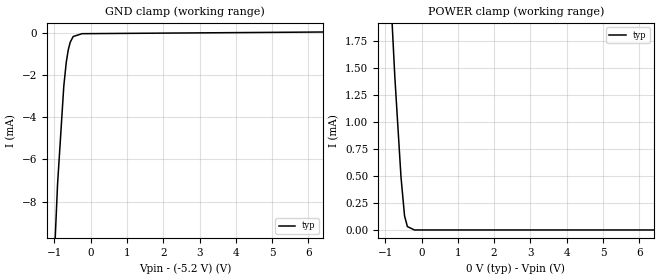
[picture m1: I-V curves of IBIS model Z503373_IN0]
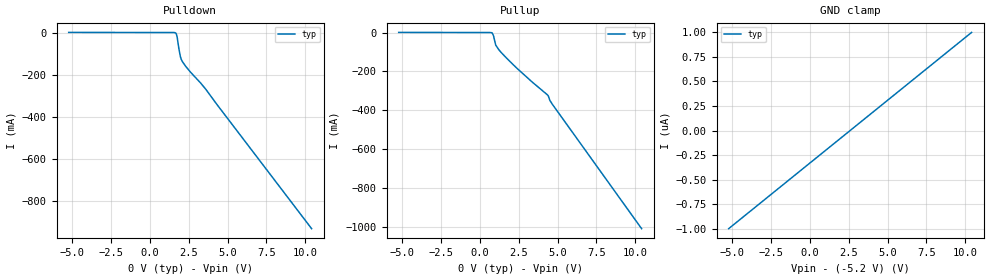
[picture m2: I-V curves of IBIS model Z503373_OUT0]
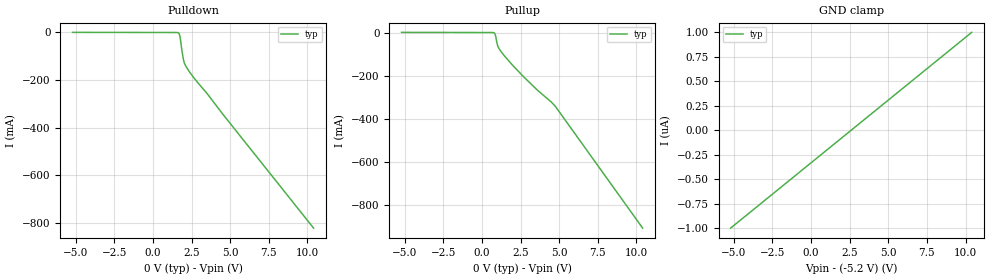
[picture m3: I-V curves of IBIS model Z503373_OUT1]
| YOU ARE ONLY AUTHORIZED TO USE THIS SOFTWARE
| ACCORDING TO LICENSOR'S LICENSE RESTRICTIONS.
[IBIS Ver] 3.1
[File Name] mc100e416fn.ibs
[File Rev] 2.0
[Source] Measured and created by ICX Technology
[Date] Friday 7/14/00 9:07:47 AM
[Copyright]
| (C) COPYRIGHT 1993-2000
| MENTOR GRAPHICS CORPORATION
| ICX STANDARD LIBRARY, ICX PROJECT MODELING,
| ICX CUSTOM MODELING, ICX VENDOR MODEL
| ALL RIGHTS RESERVED.
| THE FOLLOWING ARE TRADEMARKS OR SERVICE MARKS OF
| MENTOR GRAPHICS CORPORATION:ICX (R), ICX STANDARD
| LIBRARY(R), ICX PROJECT MODELING(R), ICX CUSTOM
| MODELING(R), qualityIBIS(TM), MODELVIEWER(TM),
| AND MODELEDITOR(TM)
| ALL COPIES OF SOFTWARE, INCLUDING BUT NOT LIMITED TO
| ANY MODIFICATIONS, ENHANCEMENTS OR DERIVATIVE WORKS,
| MUST CONTAIN ALL MENTOR GRAPHICS CORPORATION'S
| NOTICES AND LEGENDS, INCLUDING THOSE EMBEDDED IN
| SOFTWARE AND THOSE AFFIXED TO SOFTWARE MEDIUM
| AND CONTAINER, AS RECEIVED FROM MENTOR GRAPHICS
| CORPORATION.
|  ZAP Model Builder 2.7
[Component] MC100E416FN
[Manufacturer] OnSemiconductor
[Package]
| variable   typ   min   max
R_pkg  .083ohms NA NA
L_pkg  4.299nH NA NA
C_pkg  1.045pF NA NA
[Pin] signal_name  model_name  R_pin  L_pin C_pin
1 VEE POWER .08 3.94n .925p
2 VBB POWER .082 4.14n .995p
3 D0 Z503373_IN0 .084 4.354n 1.065p
4 _D0 Z503373_IN0 .086 4.583n 1.135p
5 D1 Z503373_IN0 .086 4.583n 1.135p
6 _D1 Z503373_IN0 .084 4.354n 1.065p
7 VCCO POWER .082 4.14n .995p
8 Q0 Z503373_OUT0 .08 3.94n .925p
9 _Q0 Z503373_OUT1 .082 4.14n .995p
10 VCCO POWER .084 4.354n 1.065p
11 Q1 Z503373_OUT0 .086 4.583n 1.135p
12 _Q1 Z503373_OUT1 .086 4.583n 1.135p
13 VCCO POWER .084 4.354n 1.065p
14 Q2 Z503373_OUT0 .082 4.14n .995p
15 _Q2 Z503373_OUT1 .08 3.94n .925p
16 VCC POWER .082 4.14n .995p
17 Q3 Z503373_OUT0 .084 4.354n 1.065p
18 _Q3 Z503373_OUT1 .086 4.583n 1.135p
19 VCCO POWER .086 4.583n 1.135p
20 Q4 Z503373_IN0 .084 4.354n 1.065p
21 _Q4 Z503373_IN0 .082 4.14n .995p
22 VCCO POWER .08 3.94n .925p
23 D4 Z503373_IN0 .082 4.14n .995p
24 _D4 Z503373_IN0 .084 4.354n 1.065p
25 D3 Z503373_IN0 .086 4.583n 1.135p
26 _D3 Z503373_IN0 .086 4.583n 1.135p
27 D2 Z503373_IN0 .084 4.354n 1.065p
28 _D2 Z503373_IN0 .082 4.14n .995p
| Models and submodels in the file (3): Z503373_IN0 (Input_ECL), Z503373_OUT0 (Output_ECL), Z503373_OUT1 (Output_ECL)
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| (C) COPYRIGHT 1993-2000
| MENTOR GRAPHICS CORPORATION
| ICX STANDARD LIBRARY, ICX PROJECT MODELING,
| ICX CUSTOM MODELING, ICX VENDOR MODEL
| ALL RIGHTS RESERVED.
| THE FOLLOWING ARE TRADEMARKS OR SERVICE MARKS OF
| MENTOR GRAPHICS CORPORATION:ICX (R), ICX STANDARD
| LIBRARY(R), ICX PROJECT MODELING(R), ICX CUSTOM
| MODELING(R), qualityIBIS(TM), MODELVIEWER(TM),
| AND MODELEDITOR(TM)
| ALL COPIES OF SOFTWARE, INCLUDING BUT NOT LIMITED TO
| ANY MODIFICATIONS, ENHANCEMENTS OR DERIVATIVE WORKS,
| MUST CONTAIN ALL MENTOR GRAPHICS CORPORATION'S
| NOTICES AND LEGENDS, INCLUDING THOSE EMBEDDED IN
| SOFTWARE AND THOSE AFFIXED TO SOFTWARE MEDIUM
| AND CONTAINER, AS RECEIVED FROM MENTOR GRAPHICS
| CORPORATION.
| Model Application Version 1.89 2/18/99.
[Model] Z503373_IN0
Model_type Input_ECL
Vinl = -1.475V
Vinh = -1.165V
C_comp 4.000pF NA NA
| variable typ   min   max
[Voltage Range] -5.200V NA NA
[GND Clamp Reference] -5.200V NA NA
[POWER Clamp Reference] 0.000V NA NA
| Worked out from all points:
|   GND clamp passes 1 mA (typ) near -0.64 V on its own axis
|   POWER clamp passes 1 mA (typ) near -0.66 V on its own axis
[GND Clamp]
-5.2V     -232.1mA   NA         NA
-1.071V   -13.39mA   NA         NA
-915mV    -7.198mA   NA         NA
-743mV    -2.525mA   NA         NA
-674mV    -1.37mA    NA         NA
-620mV    -793.5uA   NA         NA
-565mV    -425.3uA   NA         NA
-484mV    -156.4uA   NA         NA
-242mV    -20.97uA   NA         NA
10.4V     106.5uA    NA         NA
[POWER Clamp]
-5.2V     36.58mA    NA         NA
-1.923V   10.19mA    NA         NA
-1.128V   4.017mA    NA         NA
-736.3mV  1.414mA    NA         NA
-566.4mV  488.6uA    NA         NA
-468.7mV  130uA      NA         NA
-390.7mV  31.46uA    NA         NA
-195.4mV  0A         NA         NA
10.4V     0A         NA         NA
| (C) COPYRIGHT 1993-2000
| MENTOR GRAPHICS CORPORATION
| ICX STANDARD LIBRARY, ICX PROJECT MODELING,
| ICX CUSTOM MODELING, ICX VENDOR MODEL
| ALL RIGHTS RESERVED.
| THE FOLLOWING ARE TRADEMARKS OR SERVICE MARKS OF
| MENTOR GRAPHICS CORPORATION:ICX (R), ICX STANDARD
| LIBRARY(R), ICX PROJECT MODELING(R), ICX CUSTOM
| MODELING(R), qualityIBIS(TM), MODELVIEWER(TM),
| AND MODELEDITOR(TM)
| ALL COPIES OF SOFTWARE, INCLUDING BUT NOT LIMITED TO
| ANY MODIFICATIONS, ENHANCEMENTS OR DERIVATIVE WORKS,
| MUST CONTAIN ALL MENTOR GRAPHICS CORPORATION'S
| NOTICES AND LEGENDS, INCLUDING THOSE EMBEDDED IN
| SOFTWARE AND THOSE AFFIXED TO SOFTWARE MEDIUM
| AND CONTAINER, AS RECEIVED FROM MENTOR GRAPHICS
| CORPORATION.
| Model Application Version 1.89 2/18/99.
[Model] Z503373_OUT0
Model_type Output_ECL
Vref=-2.000V
Rref=50.00ohms
Cref=0.000F
Vmeas=-1.320V
C_comp 8.000pF NA NA
| variable typ   min   max
[Voltage Range] -5.200V NA NA
[POWER Clamp Reference] 0.000V NA NA
[Pullup Reference] 0.000V NA NA
[Pulldown Reference] 0.000V NA NA
[GND Clamp Reference] -5.200V NA NA
[GND Clamp]
-5.2V     -1uA       NA         NA
10.4V     1uA        NA         NA
[Pulldown]
-5.2V     554.7uA    NA         NA
1.502V    -29.34uA   NA         NA
1.68V     -3.118mA   NA         NA
1.763V    -20.1mA    NA         NA
1.875V    -75.84mA   NA         NA
1.973V    -114.6mA   NA         NA
2.037V    -129.2mA   NA         NA
2.109V    -139.1mA   NA         NA
2.612V    -187.5mA   NA         NA
3.603V    -269.7mA   NA         NA
10.4V     -932.8mA   NA         NA
[Pullup]
-5.2V     660.2uA    NA         NA
804.6mV   -2.292mA   NA         NA
888mV     -15.98mA   NA         NA
1.031V    -64.47mA   NA         NA
1.406V    -104.7mA   NA         NA
2.378V    -182.7mA   NA         NA
4.365V    -321.4mA   NA         NA
4.415V    -327.2mA   NA         NA
4.508V    -348.9mA   NA         NA
4.648V    -366.8mA   NA         NA
10.4V     -1.009A    NA         NA
[POWER Clamp]
-5.2V     0A         NA         NA
10.4V     0A         NA         NA
[Ramp]
| variable typ min max
dV/dt_r 492.0m/134.1p NA NA
dV/dt_f 492.0m/92.07p NA NA
R_load = 500.0Ohms
| (C) COPYRIGHT 1993-2000
| MENTOR GRAPHICS CORPORATION
| ICX STANDARD LIBRARY, ICX PROJECT MODELING,
| ICX CUSTOM MODELING, ICX VENDOR MODEL
| ALL RIGHTS RESERVED.
| THE FOLLOWING ARE TRADEMARKS OR SERVICE MARKS OF
| MENTOR GRAPHICS CORPORATION:ICX (R), ICX STANDARD
| LIBRARY(R), ICX PROJECT MODELING(R), ICX CUSTOM
| MODELING(R), qualityIBIS(TM), MODELVIEWER(TM),
| AND MODELEDITOR(TM)
| ALL COPIES OF SOFTWARE, INCLUDING BUT NOT LIMITED TO
| ANY MODIFICATIONS, ENHANCEMENTS OR DERIVATIVE WORKS,
| MUST CONTAIN ALL MENTOR GRAPHICS CORPORATION'S
| NOTICES AND LEGENDS, INCLUDING THOSE EMBEDDED IN
| SOFTWARE AND THOSE AFFIXED TO SOFTWARE MEDIUM
| AND CONTAINER, AS RECEIVED FROM MENTOR GRAPHICS
| CORPORATION.
| Model Application Version 1.89 2/18/99.
[Model] Z503373_OUT1
Model_type Output_ECL
Vref=-2.000V
Rref=50.00ohms
Cref=0.000F
Vmeas=-1.320V
C_comp 8.000pF NA NA
| variable typ   min   max
[Voltage Range] -5.200V NA NA
[POWER Clamp Reference] 0.000V NA NA
[Pullup Reference] 0.000V NA NA
[Pulldown Reference] 0.000V NA NA
[GND Clamp Reference] -5.200V NA NA
[GND Clamp]
-5.2V     -1uA       NA         NA
10.4V     1uA        NA         NA
[Pulldown]
-5.2V     536.9uA    NA         NA
1.66V     -1.81mA    NA         NA
1.714V    -7.185mA   NA         NA
1.763V    -19.87mA   NA         NA
1.876V    -74.88mA   NA         NA
1.976V    -113.5mA   NA         NA
2.038V    -128.6mA   NA         NA
2.359V    -164.6mA   NA         NA
10.4V     -822.2mA   NA         NA
[Pullup]
-5.2V     710.2uA    NA         NA
803.9mV   -2.269mA   NA         NA
888.3mV   -15.91mA   NA         NA
971.7mV   -47.93mA   NA         NA
1.031V    -64.16mA   NA         NA
1.172V    -82.04mA   NA         NA
1.407V    -104.3mA   NA         NA
2.695V    -205mA     NA         NA
3.564V    -265.5mA   NA         NA
4.482V    -321.7mA   NA         NA
4.759V    -343.1mA   NA         NA
10.4V     -907.2mA   NA         NA
[POWER Clamp]
-5.2V     0A         NA         NA
10.4V     0A         NA         NA
[Ramp]
| variable typ min max
dV/dt_r 494.0m/332.4p NA NA
dV/dt_f 494.0m/248.8p NA NA
R_load = 500.0Ohms
